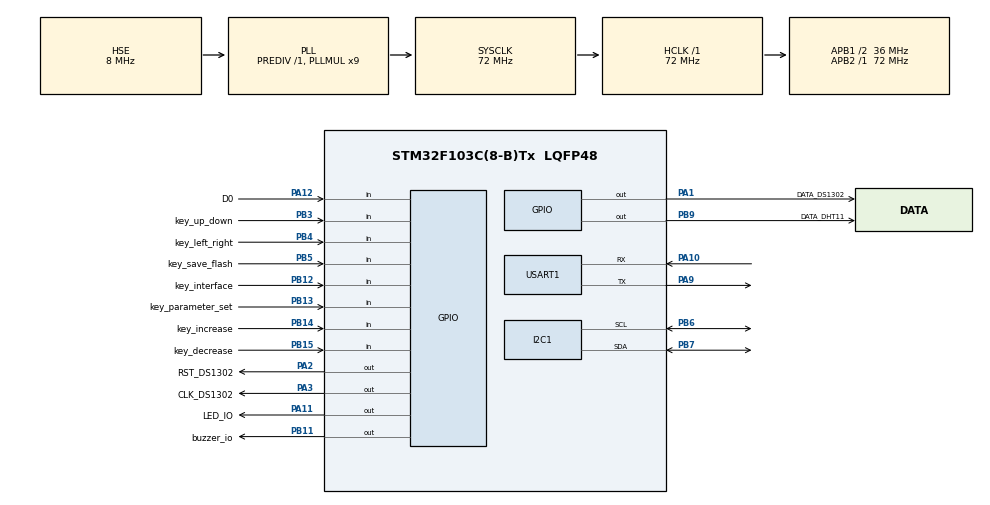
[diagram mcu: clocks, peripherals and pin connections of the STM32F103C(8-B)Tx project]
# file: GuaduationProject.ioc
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Mcu.Family=STM32F1
Mcu.Name=STM32F103C(8-B)Tx
Mcu.Package=LQFP48
NVIC.PriorityGroup=NVIC_PRIORITYGROUP_4
NVIC.TIM1_UP_IRQn=true\:0\:0\:false\:false\:true\:true\:true\:true
PA1.GPIO_Label=DATA_DS1302
PA1.Signal=GPIO_Output
PA10.Mode=Asynchronous
PA10.Signal=USART1_RX
PA11.GPIO_Label=LED_IO
PA11.GPIO_PuPd=GPIO_PULLDOWN
PA11.GPIO_Speed=GPIO_SPEED_FREQ_LOW
PA11.Signal=GPIO_Output
PA12.GPIO_Label=D0
PA12.GPIO_PuPd=GPIO_PULLUP
PA12.Signal=GPIO_Input
PA13.Mode=Serial_Wire
PA13.Signal=SYS_JTMS-SWDIO
PA14.Mode=Serial_Wire
PA14.Signal=SYS_JTCK-SWCLK
PA2.GPIO_Label=RST_DS1302
PA2.Signal=GPIO_Output
PA3.GPIO_Label=CLK_DS1302
PA3.Signal=GPIO_Output
PA9.Mode=Asynchronous
PA9.Signal=USART1_TX
PB11.GPIO_Label=buzzer_io
PB11.GPIO_PuPd=GPIO_NOPULL
PB11.GPIO_Speed=GPIO_SPEED_FREQ_LOW
PB11.PinState=GPIO_PIN_SET
PB11.Signal=GPIO_Output
PB12.GPIO_Label=key_interface
PB12.GPIO_PuPd=GPIO_PULLUP
PB12.Signal=GPIO_Input
PB13.GPIO_Label=key_parameter_set
PB13.GPIO_PuPd=GPIO_PULLUP
PB13.Signal=GPIO_Input
PB14.GPIO_Label=key_increase
PB14.GPIO_PuPd=GPIO_PULLUP
PB14.Signal=GPIO_Input
PB15.GPIO_Label=key_decrease
PB15.GPIO_PuPd=GPIO_PULLUP
PB15.Signal=GPIO_Input
PB3.GPIO_Label=key_up_down
PB3.GPIO_PuPd=GPIO_PULLUP
PB3.Signal=GPIO_Input
PB4.GPIO_Label=key_left_right
PB4.GPIO_PuPd=GPIO_PULLUP
PB4.Signal=GPIO_Input
PB5.GPIO_Label=key_save_flash
PB5.GPIO_PuPd=GPIO_PULLUP
PB5.Signal=GPIO_Input
PB6.Mode=I2C
PB6.Signal=I2C1_SCL
PB7.Mode=I2C
PB7.Signal=I2C1_SDA
PB9.GPIO_Label=DATA_DHT11
PB9.GPIO_ModeDefaultOutputPP=GPIO_MODE_OUTPUT_PP
PB9.GPIO_PuPd=GPIO_PULLUP
PB9.GPIO_Speed=GPIO_SPEED_FREQ_HIGH
PB9.PinState=GPIO_PIN_SET
PB9.Signal=GPIO_Output
PC14-OSC32_IN.Mode=LSE-External-Oscillator
PC14-OSC32_IN.Signal=RCC_OSC32_IN
PC15-OSC32_OUT.Mode=LSE-External-Oscillator
PC15-OSC32_OUT.Signal=RCC_OSC32_OUT
PD0-OSC_IN.Mode=HSE-External-Oscillator
PD0-OSC_IN.Signal=RCC_OSC_IN
PD1-OSC_OUT.Mode=HSE-External-Oscillator
PD1-OSC_OUT.Signal=RCC_OSC_OUT
ProjectManager.HeapSize=0x200
ProjectManager.StackSize=0x400
ProjectManager.TargetToolchain=MDK-ARM V5
RCC.AHBFreq_Value=72000000
RCC.APB1CLKDivider=RCC_HCLK_DIV2
RCC.APB1Freq_Value=36000000
RCC.APB1TimFreq_Value=72000000
RCC.APB2Freq_Value=72000000
RCC.APB2TimFreq_Value=72000000
RCC.HCLKFreq_Value=72000000
RCC.PLLMUL=RCC_PLL_MUL9
RCC.PLLSourceVirtual=RCC_PLLSOURCE_HSE
RCC.SYSCLKFreq_VALUE=72000000
RCC.SYSCLKSource=RCC_SYSCLKSOURCE_PLLCLK
RCC.USBFreq_Value=72000000
TIM1.AutoReloadPreload=TIM_AUTORELOAD_PRELOAD_ENABLE
TIM1.Period=499
TIM1.Prescaler=7199
USART1.VirtualMode=VM_ASYNC
VP_TIM1_VS_ClockSourceINT.Mode=Internal
board=custom

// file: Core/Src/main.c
/* USER CODE BEGIN Header */
/**
  ******************************************************************************
  * @file           : main.c
  * @brief          : Main program body
  ******************************************************************************
  * @attention
  *
  * Copyright (c) 2023 STMicroelectronics.
  * All rights reserved.
  *
  * This software is licensed under terms that can be found in the LICENSE file
  * in the root directory of this software component.
  * If no LICENSE file comes with this software, it is provided AS-IS.
  *
  ******************************************************************************
  */
/* USER CODE END Header */
#include "main.h"
#include "i2c.h"
#include "tim.h"
#include "usart.h"
#include "gpio.h"

/* USER CODE BEGIN Includes */
#include "oled.h"
#include "dht11.h"
#include "stdio.h"
#include "ds1302.h"
#include "stmflash.h"
#include "key.h"
#include "string.h"
/* USER CODE END Includes */

void SystemClock_Config(void);

/* USER CODE BEGIN 0 */
extern uint32_t second;
extern uint8_t interface_state;
extern uint8_t key_state;
extern uint32_t alarm_clock[alarm_count_max][alarm_parameter_max];
/* USER CODE END 0 */

int main(void)
{

  /* MCU Configuration--------------------------------------------------------*/

  /* Reset of all peripherals, Initializes the Flash interface and the Systick. */
  HAL_Init();

  /* Configure the system clock */
  SystemClock_Config();

  /* Initialize all configured peripherals */
  MX_GPIO_Init();
  MX_I2C1_Init();
  MX_USART1_UART_Init();
  MX_TIM1_Init();
  /* USER CODE BEGIN 2 */
  BUZZ_ON;
  HAL_Delay(400);
  BUZZ_OFF;

  OLED_Init();
  OLED_Clear();
  HAL_TIM_Base_Start_IT(&htim1);  //使能定时器1
  /* USER CODE END 2 */

  /* Infinite loop */
  /* USER CODE BEGIN WHILE */
  //DS1302是否写入过时间判断标志，如果写入过就不再写入了
//    DS1302_Set_Time(0x23,0x01,0x04,0x19,0x15,0x11,0x00);
	uint8_t ds1302_write_flag;
	ds1302_write_flag = DS1302_Read_Register(0xc0);
	if(ds1302_write_flag == 0)
	{
//		DS1302_Set_Time(0x23,0x01,0x03,0x27,0x21,0x50,0x20);
		DS1302_Write_Register(0xc0,1);
	}

//	STMFLASH_Write(FLASH_SAVE_ADDR,(uint16_t *)alarm_clock,sizeof(alarm_clock));
	STMFLASH_Read(FLASH_SAVE_ADDR,(u16*)alarm_clock,sizeof(alarm_clock));

  while (1)
  {
    /* USER CODE END WHILE */

    /* USER CODE BEGIN 3 */

//	OLED_ShowString(0,0,(uint8_t *)"diploma project",16);

	DS1302_Print_Time();
	DHT11();

	key_scan();  //扫描按键，是否有按键按下

	key_state_response(); //按键状态响应,执行相应处理
  }
  /* USER CODE END 3 */
}

void SystemClock_Config(void)
{
  RCC_OscInitTypeDef RCC_OscInitStruct = {0};
  RCC_ClkInitTypeDef RCC_ClkInitStruct = {0};

  /** Initializes the RCC Oscillators according to the specified parameters
  * in the RCC_OscInitTypeDef structure.
  */
  RCC_OscInitStruct.OscillatorType = RCC_OSCILLATORTYPE_HSE;
  RCC_OscInitStruct.HSEState = RCC_HSE_ON;
  RCC_OscInitStruct.HSEPredivValue = RCC_HSE_PREDIV_DIV1;
  RCC_OscInitStruct.HSIState = RCC_HSI_ON;
  RCC_OscInitStruct.PLL.PLLState = RCC_PLL_ON;
  RCC_OscInitStruct.PLL.PLLSource = RCC_PLLSOURCE_HSE;
  RCC_OscInitStruct.PLL.PLLMUL = RCC_PLL_MUL9;
  if (HAL_RCC_OscConfig(&RCC_OscInitStruct) != HAL_OK)
  {
    Error_Handler();
  }

  /** Initializes the CPU, AHB and APB buses clocks
  */
  RCC_ClkInitStruct.ClockType = RCC_CLOCKTYPE_HCLK|RCC_CLOCKTYPE_SYSCLK
                              |RCC_CLOCKTYPE_PCLK1|RCC_CLOCKTYPE_PCLK2;
  RCC_ClkInitStruct.SYSCLKSource = RCC_SYSCLKSOURCE_PLLCLK;
  RCC_ClkInitStruct.AHBCLKDivider = RCC_SYSCLK_DIV1;
  RCC_ClkInitStruct.APB1CLKDivider = RCC_HCLK_DIV2;
  RCC_ClkInitStruct.APB2CLKDivider = RCC_HCLK_DIV1;

  if (HAL_RCC_ClockConfig(&RCC_ClkInitStruct, FLASH_LATENCY_2) != HAL_OK)
  {
    Error_Handler();
  }
}

void Error_Handler(void)
{
  __disable_irq();
  while (1)
  {
  }
}
